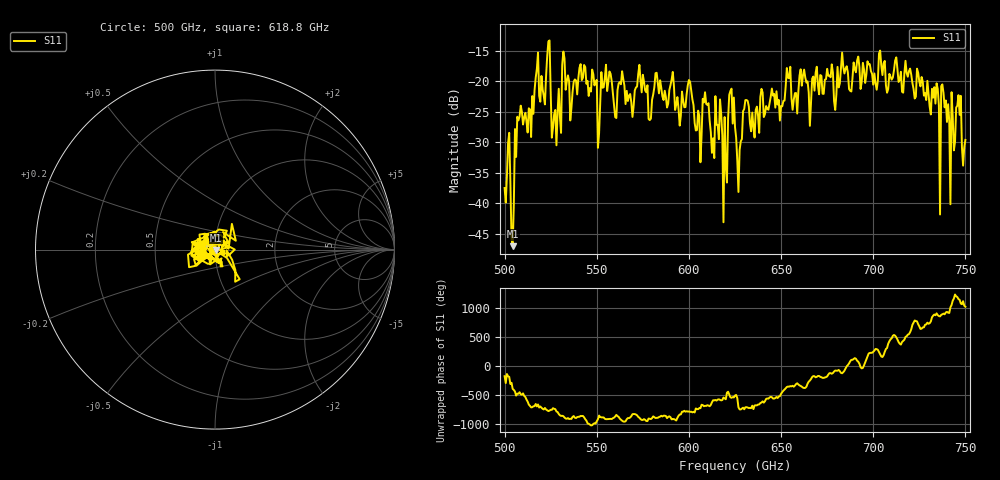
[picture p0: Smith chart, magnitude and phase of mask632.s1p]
!Created with skrf (http://scikit-rf.org).
# GHz S MA R 50.0
!freq magS11 angS11
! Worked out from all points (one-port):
!   401 points, 500 GHz to 750 GHz, reference 50 ohm
!   lowest |S11| = -47.0 dB at 504.4 GHz (marker M1), VSWR 1.01, Z = 50.4 - j0.246 ohm
!   |S11| at or under -10 dB: start of sweep to end of sweep
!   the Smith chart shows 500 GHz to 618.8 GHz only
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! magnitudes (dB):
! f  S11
! 500 GHz  -37.5
! 504.4 GHz  -47.0
! 508.1 GHz  -25.8
! 523.8 GHz  -13.5
! 526.9 GHz  -25.4
! 531.2 GHz  -17.3
! 548.8 GHz  -20.7
! 550.6 GHz  -30.9
! 562.5 GHz  -20.1
! 593.8 GHz  -22.6
! 600.6 GHz  -20.1
! 605.6 GHz  -25.7
! 609.4 GHz  -23.7
! 612.5 GHz  -31.7
! 616.9 GHz  -23.0
! 619.4 GHz  -25.9
! 623.1 GHz  -21.2
! 625 GHz  -27.5
! 627.5 GHz  -31.3
! 630.6 GHz  -23.1
! 656.2 GHz  -24.7
! 687.5 GHz  -21.6
! 718.8 GHz  -19.3
! 735 GHz  -21.3
! 738.1 GHz  -22.0
! 743.1 GHz  -25.8
! 746.2 GHz  -22.3
! 750 GHz  -29.6
